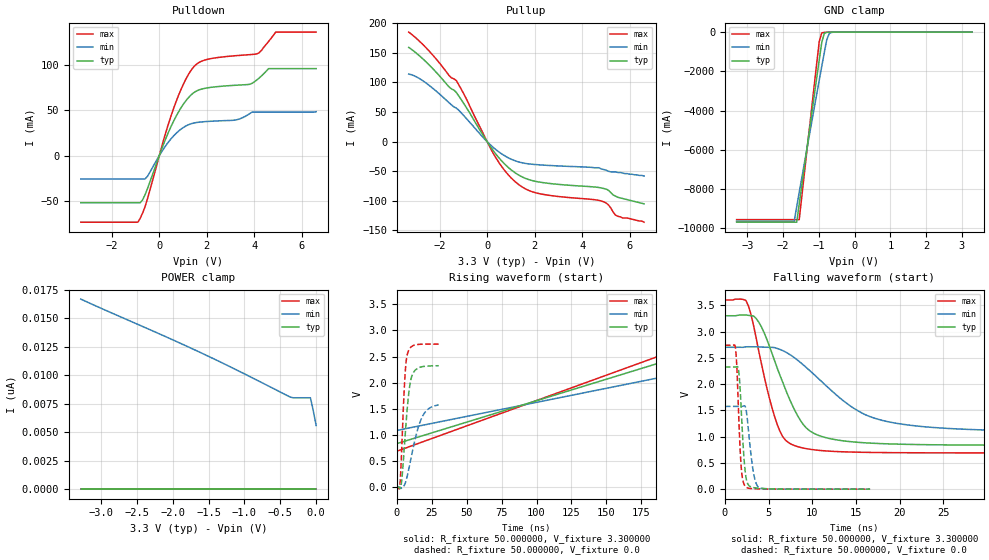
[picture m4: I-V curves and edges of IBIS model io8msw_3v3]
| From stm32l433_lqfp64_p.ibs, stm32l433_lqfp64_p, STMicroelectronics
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|   Model io8msw_3v3
[Model]  io8msw_3v3
Model_type I/O
Polarity   Non-Inverting
Enable   Active-Low
Vinl =   0.990000V
Vinh =   2.310000V
Vmeas =  1.650000V
Cref =   100.000000nF
Rref =   1.000000k
Vref =   3.300000V
C_comp   2.968600pF   2.938100pF   3.196200pF
[Temperature Range]   25.000000   0.125000k   -40.000000
[Pullup Reference]   3.300000V   2.700000V   3.600000V
[Pulldown Reference]   0.0V   0.0V   0.0V
[POWER Clamp Reference]   3.300000V   2.700000V   3.600000V
[GND Clamp Reference]   0.0V   0.0V   0.0V
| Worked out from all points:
|   slope of the pulldown table from 0 to 0.495 V, typ, clamps not added: 15.4 ohm
|   slope of the pullup table from 0 to 0.495 V, typ, clamps not added: 18.1 ohm
|   GND clamp passes 1 mA (typ) near -0.58 V on its own axis
|   rising waveform, R_fixture 50.000000, V_fixture 3.300000: 20-80 % time 180ns typ, 180ns min, 180ns max; typ from 0.835 V to 3.3 V
|   rising waveform, R_fixture 50.000000, V_fixture 0.0: 20-80 % time 4.25ns typ, 8.51ns min, 2.79ns max; typ from 0 V to 2.33 V
|   falling waveform, R_fixture 50.000000, V_fixture 3.300000: 20-80 % time 3.68ns typ, 7.29ns min, 2.5ns max; typ from 3.3 V to 0.835 V
|   falling waveform, R_fixture 50.000000, V_fixture 0.0: 20-80 % time 488ps typ, 660ps min, 410ps max; typ from 2.33 V to 0 V
[Pulldown]
|Voltage   I(typ)   I(min)   I(max)
-3.3V     -51.62mA   -25.53mA   -73.04mA
-900mV    -51.62mA   -25.53mA   -73.04mA
-500mV    -36.51mA   -22.79mA   -47.71mA
200mV     14.03mA    8.316mA    18.9mA
700mV     42.99mA    24.4mA     58.9mA
1.2V      63.06mA    33.8mA     88.14mA
1.6V      71.64mA    36.67mA    101.4mA
3.2V      77.51mA    39.29mA    110mA
4.1V      83.27mA    47.97mA    111.9mA
4.6V      95.8mA     47.97mA    125.7mA
4.9V      95.8mA     47.97mA    136mA
6.6V      95.8mA     48.43mA    136mA
[Pullup]
|Voltage   I(typ)   I(min)   I(max)
-3.3V     159.3mA    114.2mA    185.2mA
-2.6V     135.9mA    99.98mA    159.9mA
-1.6V     92.46mA    65.72mA    111.7mA
-1.3V     83.3mA     56.77mA    103.4mA
300mV     -17.49mA   -11.19mA   -22.71mA
800mV     -40.27mA   -25.28mA   -51.87mA
1.3V      -55.74mA   -33.93mA   -71.59mA
2.2V      -68.23mA   -39.11mA   -87.81mA
4.8V      -78.1mA    -46mA      -100.2mA
5.1V      -82mA      -50mA      -106.7mA
5.5V      -94mA      -52mA      -126mA
6.6V      -105mA     -58mA      -136mA
[GND_clamp]
|Voltage   I(typ)   I(min)   I(max)
-3.3V     -9.687A    -9.633A    -9.557A
-1.69V    -9.687A    -9.633A    -9.557A
-1.62V    -9.687A    -8.894A    -9.557A
-1.55V    -8.764A    -8.167A    -9.557A
-1.13V    -3.236A    -3.867A    -2.713A
-990mV    -1.416A    -2.448A    -480.1mA
-920mV    -530mA     -1.746A    -39.96mA
-850mV    -62.36mA   -1.055A    -14.04mA
-780mV    -12.04mA   -390.4mA   -9.013mA
-710mV    -4.897mA   -69.08mA   -5.32mA
-640mV    -2.305mA   -14.59mA   -2.498mA
3.28V     0A         0A         0A
[POWER_clamp]
|Voltage   I(typ)   I(min)   I(max)
-3.28V    0A         16.68nA    0A
-1.64V    0A         12.07nA    0A
-1.08V    0A         10.37nA    0A
-360mV    0A         8.078nA    0A
-320mV    0A         8.02nA     0A
-80mV     0A         8.02nA     0A
-40mV     0A         6.883nA    0A
0V        0A         5.582nA    0A
[Ramp]
| variable   typ   min   max
dV/dt_r  1.37874/4.16820n   0.74394/6.13098n   1.64118/2.77639n
dV/dt_f  1.45454/3.56865n   0.79542/5.42365n   1.74082/2.48210n
R_load = 50.000000
[Rising Waveform]
R_fixture= 50.000000
V_fixture= 3.300000
V_fixture_min= 2.700000
V_fixture_max= 3.600000
|time   V(typ)   V(min)   V(max)
0s        835mV      1.087V     689.9mV
300.3ns   3.3V       2.7V       3.6V
600.6ns   3.3V       2.7V       3.6V
29.73us   3.3V       2.7V       3.6V
[Rising Waveform]
R_fixture= 50.000000
V_fixture= 0.0
V_fixture_min= 0.0
V_fixture_max= 0.0
|time   V(typ)   V(min)   V(max)
0s        3.841nV    97.75nV    3.582nV
2.222ns   -19.96mV   184.3uV    67.15mV
3.544ns   159.7mV    -6.967mV   818.5mV
5.526ns   853.9mV    50.68mV    2.023V
6.547ns   1.232V     129mV      2.395V
7.748ns   1.613V     258.3mV    2.573V
10.51ns   2.114V     611.9mV    2.692V
17.24ns   2.301V     1.295V     2.736V
21.44ns   2.318V     1.475V     2.738V
29.91ns   2.325V     1.575V     2.739V
[Falling Waveform]
R_fixture= 50.000000
V_fixture= 3.300000
V_fixture_min= 2.700000
V_fixture_max= 3.600000
|time   V(typ)   V(min)   V(max)
0s        3.3V       2.7V       3.6V
2.703ns   3.308V     2.711V     3.484V
4.204ns   3.081V     2.704V     2.374V
5.405ns   2.58V      2.699V     1.544V
6.607ns   2.041V     2.638V     1.003V
8.408ns   1.374V     2.444V     805.3mV
10.21ns   1.061V     2.182V     749.3mV
16.52ns   877.4mV    1.386V     699.5mV
26.43ns   841mV      1.148V     690.7mV
149.5ns   835mV      1.087V     689.9mV
[Falling Waveform]
R_fixture= 50.000000
V_fixture= 0.0
V_fixture_min= 0.0
V_fixture_max= 0.0
|time   V(typ)   V(min)   V(max)
0s        2.325V     1.575V     2.739V
1.201ns   2.324V     1.575V     2.696V
1.368ns   2.33V      1.575V     2.34V
1.568ns   2.263V     1.575V     1.471V
1.869ns   1.526V     1.575V     425.2mV
2.135ns   719.1mV    1.582V     121.9mV
2.369ns   279.5mV    1.556V     48.26mV
3.237ns   30.9mV     352.2mV    10.55mV
3.871ns   19.4mV     33.64mV    5.313mV
16.62ns   3.841nV    97.75nV    3.582nV
